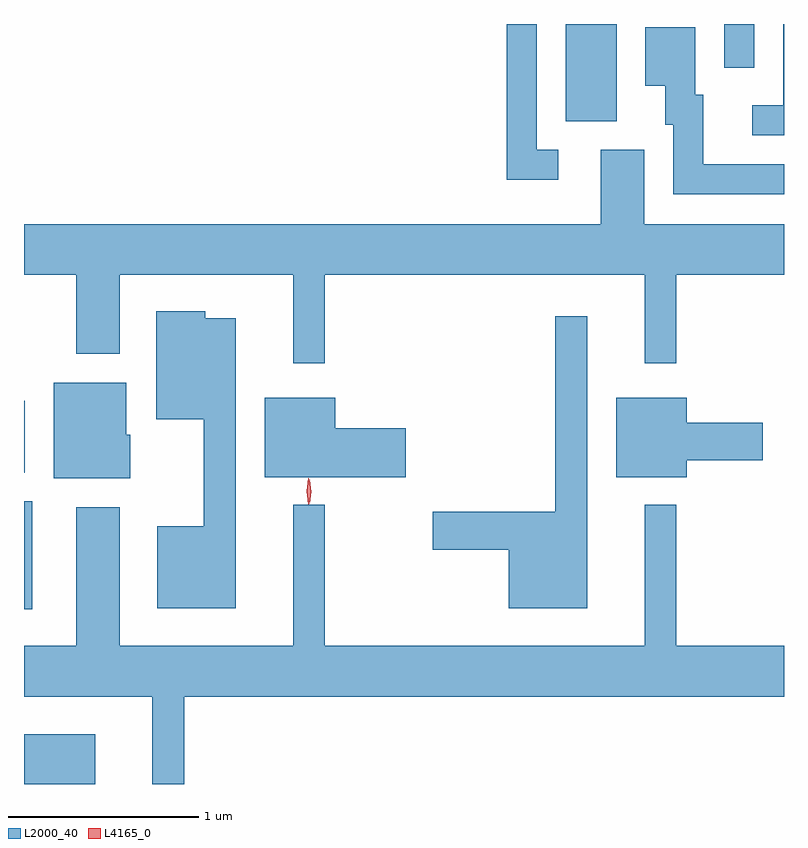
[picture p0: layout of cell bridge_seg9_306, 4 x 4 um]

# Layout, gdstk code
import gdstk
lib = gdstk.Library(unit=1e-6, precision=1e-09)
def R(c, l, rs):  # rectangles x0, y0, x1, y1
    for r in rs: c.add(gdstk.rectangle(r[:2], r[2:], *l))
def P(c, l, *ps):  # polygons
    for p in ps: c.add(gdstk.Polygon(p, *l))
L2000_40 = (2000, 40)
L4165_0 = (4165, 0)

bridge_seg9_306 = lib.new_cell('bridge_seg9_306')
R(bridge_seg9_306, L2000_40, [(964.955,2051.297,965.329,2051.559), (964.955,2052.216,964.999,2052.784), (964.955,2052.936,964.959,2053.314), (967.806,2054.786,968.074,2055.297), (968.641,2055.068,968.799,2055.297)])
P(bridge_seg9_306, L2000_40, [(968.955,2055.297),(968.951,2055.297),(968.951,2054.869),(968.788,2054.869),(968.788,2054.711),(968.955,2054.711)],
  [(967.768,2054.634),(967.654,2054.634),(967.654,2055.297),(967.496,2055.297),(967.496,2054.476),(967.768,2054.476)],
  [(968.955,2054.559),(968.529,2054.559),(968.529,2054.924),(968.489,2054.924),(968.489,2055.279),(968.226,2055.279),(968.226,2054.971),(968.331,2054.971),(968.331,2054.766),(968.371,2054.766),(968.371,2054.401),(968.955,2054.401)],
  [(966.539,2053.976),(968.221,2053.976),(968.221,2053.512),(968.389,2053.512),(968.389,2053.976),(968.955,2053.976),(968.955,2054.244),(968.219,2054.244),(968.219,2054.634),(967.991,2054.634),(967.991,2054.244),(964.955,2054.244),(964.955,2053.976),(965.231,2053.976),(965.231,2053.561),(965.459,2053.561),(965.459,2053.976),(966.371,2053.976),(966.371,2053.512),(966.539,2053.512)],
  [(966.069,2053.749),(965.909,2053.749),(965.909,2053.784),(965.651,2053.784),(965.651,2053.216),(965.901,2053.216),(965.901,2052.654),(965.656,2052.654),(965.656,2052.221),(966.069,2052.221)],
  [(967.919,2053.758),(967.751,2053.758),(967.751,2052.729),(967.106,2052.729),(967.106,2052.531),(967.506,2052.531),(967.506,2052.221),(967.919,2052.221)],
  [(965.514,2053.134),(965.494,2053.134),(965.494,2053.409),(965.111,2053.409),(965.111,2052.906),(965.514,2052.906)],
  [(966.964,2053.169),(966.594,2053.169),(966.594,2053.329),(966.221,2053.329),(966.221,2052.911),(966.964,2052.911)],
  [(968.444,2053.001),(968.844,2053.001),(968.844,2053.199),(968.444,2053.199),(968.444,2053.329),(968.071,2053.329),(968.071,2052.911),(968.444,2052.911)],
  [(965.799,2051.756),(968.955,2051.756),(968.955,2052.024),(968.389,2052.024),(968.389,2052.768),(968.221,2052.768),(968.221,2052.024),(966.539,2052.024),(966.539,2052.768),(966.371,2052.768),(966.371,2052.024),(965.459,2052.024),(965.459,2052.754),(965.231,2052.754),(965.231,2052.024),(964.955,2052.024),(964.955,2051.756),(965.631,2051.756),(965.631,2051.297),(965.799,2051.297)])
P(bridge_seg9_306, L4165_0, [(966.452,2052.77),(966.443,2052.838),(966.452,2052.905),(966.452,2052.906),(966.453,2052.905),(966.462,2052.838),(966.454,2052.77),(966.453,2052.77)],
  [(966.458,2052.773),(966.458,2052.774),(966.448,2052.836),(966.458,2052.899),(966.458,2052.9),(966.459,2052.899),(966.468,2052.836),(966.459,2052.774)])

lib.write_gds('bridge_seg9_306.gds')
